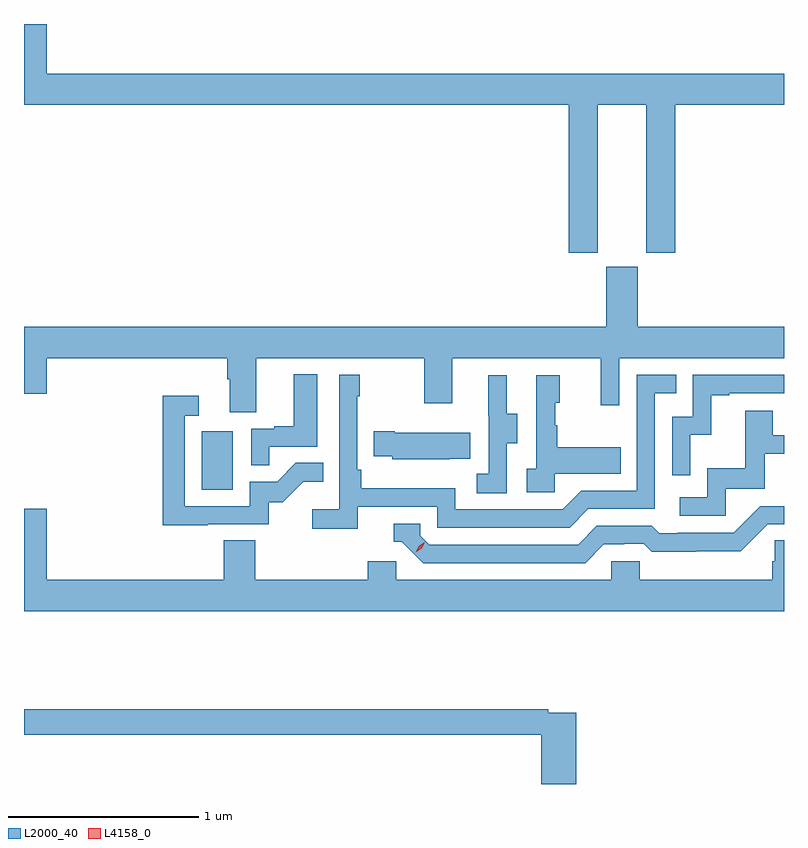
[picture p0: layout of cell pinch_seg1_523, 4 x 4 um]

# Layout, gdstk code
import gdstk
lib = gdstk.Library(unit=1e-6, precision=1e-09)
def R(c, l, rs):  # rectangles x0, y0, x1, y1
    for r in rs: c.add(gdstk.rectangle(r[:2], r[2:], *l))
def P(c, l, *ps):  # polygons
    for p in ps: c.add(gdstk.Polygon(p, *l))
L2000_40 = (2000, 40)
L4158_0 = (4158, 0)

pinch_seg1_523 = lib.new_cell('pinch_seg1_523')
R(pinch_seg1_523, L2000_40, [(1053.098,539.052,1053.262,539.359)])
P(pinch_seg1_523, L2000_40, [(1055.182,541.076),(1055.438,541.076),(1055.438,540.297),(1055.591,540.297),(1055.591,541.076),(1056.163,541.076),(1056.163,541.24),(1052.284,541.24),(1052.284,541.502),(1052.163,541.502),(1052.163,541.076),(1055.03,541.076),(1055.03,540.297),(1055.182,540.297)],
  [(1053.385,539.744),(1054.27,539.744),(1054.27,539.505),(1054.417,539.505),(1054.417,539.744),(1055.198,539.744),(1055.198,539.496),(1055.295,539.496),(1055.295,539.744),(1056.163,539.744),(1056.163,539.908),(1055.392,539.908),(1055.392,540.225),(1055.228,540.225),(1055.228,539.908),(1052.163,539.908),(1052.163,539.556),(1052.284,539.556),(1052.284,539.744),(1053.233,539.744),(1053.233,539.632),(1053.245,539.632),(1053.245,539.458),(1053.385,539.458)],
  [(1053.455,539.277),(1053.706,539.277),(1053.706,539.659),(1053.584,539.659),(1053.584,539.386),(1053.481,539.386),(1053.481,539.373),(1053.36,539.373),(1053.36,539.179),(1053.455,539.179)],
  [(1053.92,538.962),(1054.338,538.962),(1054.338,538.851),(1055.035,538.851),(1055.134,538.95),(1055.484,538.95),(1055.484,539.559),(1055.597,539.559),(1055.597,539.655),(1055.388,539.655),(1055.388,539.046),(1055.097,539.046),(1054.998,538.947),(1054.434,538.947),(1054.434,539.059),(1053.938,539.059),(1053.938,539.155),(1053.918,539.155),(1053.918,539.543),(1053.931,539.543),(1053.931,539.656),(1053.822,539.656),(1053.822,538.948),(1053.681,538.948),(1053.681,538.846),(1053.92,538.846)],
  [(1055.67,539.339),(1055.78,539.339),(1055.78,539.547),(1055.875,539.547),(1055.875,539.559),(1056.163,539.559),(1056.163,539.655),(1055.682,539.655),(1055.682,539.436),(1055.574,539.436),(1055.574,539.127),(1055.67,539.127)],
  [(1054.956,539.135),(1055.303,539.135),(1055.303,539.275),(1054.969,539.275),(1054.969,539.39),(1054.959,539.39),(1054.959,539.508),(1054.984,539.508),(1054.984,539.653),(1054.86,539.653),(1054.86,539.162),(1054.809,539.162),(1054.809,539.037),(1054.956,539.037)],
  [(1054.704,539.296),(1054.759,539.296),(1054.759,539.451),(1054.705,539.451),(1054.705,539.653),(1054.607,539.653),(1054.607,539.439),(1054.608,539.439),(1054.608,539.135),(1054.545,539.135),(1054.545,539.032),(1054.704,539.032)],
  [(1053.131,538.869),(1053.45,538.869),(1053.45,538.986),(1053.526,538.986),(1053.633,539.093),(1053.737,539.093),(1053.737,539.192),(1053.594,539.192),(1053.496,539.094),(1053.351,539.094),(1053.351,538.965),(1053.009,538.965),(1053.009,539.439),(1053.082,539.439),(1053.082,539.545),(1052.893,539.545),(1052.893,538.864),(1053.131,538.864)],
  [(1055.856,539.055),(1056.061,539.055),(1056.061,539.241),(1056.163,539.241),(1056.163,539.337),(1056.103,539.337),(1056.103,539.467),(1055.959,539.467),(1055.959,539.164),(1055.76,539.164),(1055.76,539.01),(1055.613,539.01),(1055.613,538.914),(1055.856,538.914)],
  [(1054.403,539.213),(1054.511,539.213),(1054.511,539.35),(1054.114,539.35),(1054.114,539.358),(1054.003,539.358),(1054.003,539.228),(1054.101,539.228),(1054.101,539.21),(1054.403,539.21)],
  [(1055.215,538.764),(1055.322,538.764),(1055.322,538.767),(1055.425,538.767),(1055.467,538.725),(1055.7,538.725),(1055.7,538.727),(1055.936,538.727),(1056.078,538.869),(1056.163,538.869),(1056.163,538.965),(1056.039,538.965),(1055.898,538.824),(1055.605,538.824),(1055.605,538.821),(1055.506,538.821),(1055.467,538.86),(1055.178,538.86),(1055.079,538.761),(1054.296,538.761),(1054.248,538.809),(1054.248,538.872),(1054.109,538.872),(1054.109,538.776),(1054.152,538.776),(1054.263,538.665),(1055.116,538.665)],
  [(1056.163,538.784),(1056.115,538.784),(1056.115,538.674),(1056.101,538.674),(1056.101,538.576),(1055.403,538.576),(1055.403,538.674),(1055.253,538.674),(1055.253,538.576),(1054.122,538.576),(1054.122,538.674),(1053.971,538.674),(1053.971,538.576),(1053.38,538.576),(1053.38,538.784),(1053.215,538.784),(1053.215,538.576),(1052.284,538.576),(1052.284,538.951),(1052.163,538.951),(1052.163,538.412),(1056.163,538.412)],
  [(1055.069,537.876),(1054.922,537.876),(1054.922,537.896),(1052.163,537.896),(1052.163,537.76),(1054.886,537.76),(1054.886,537.502),(1055.069,537.502)])
P(pinch_seg1_523, L4158_0, [(1054.226,538.722),(1054.226,538.722),(1054.242,538.755),(1054.272,538.775),(1054.272,538.775),(1054.272,538.774),(1054.257,538.742),(1054.226,538.722)])

lib.write_gds('pinch_seg1_523.gds')
